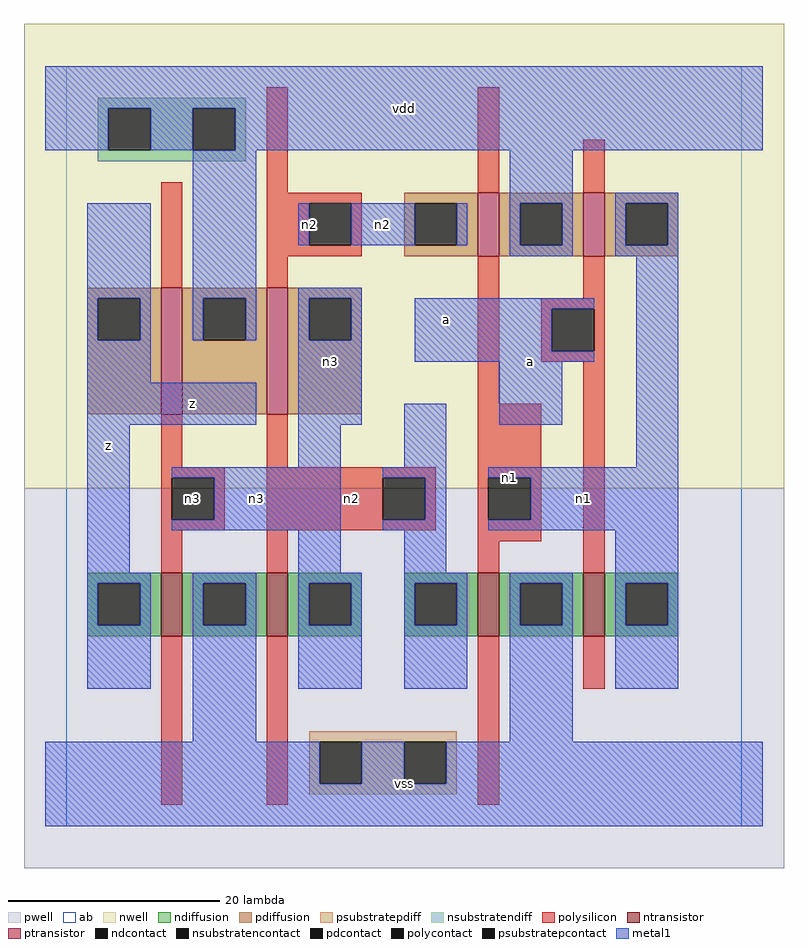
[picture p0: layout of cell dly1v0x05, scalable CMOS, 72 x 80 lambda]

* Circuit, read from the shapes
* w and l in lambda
.subckt dly1v0x05 a n1 n2 n3 vdd vss z
M1 vss n3 z vss nfet w=6 l=2
M2 n3 n2 vss vss nfet w=6 l=2
M3 vss n1 n2 vss nfet w=6 l=2
M4 n1 a vss vss nfet w=6 l=2
M5 vdd n3 z vdd pfet w=12 l=2
M6 n3 n2 vdd vdd pfet w=12 l=2
M7 vdd n1 n2 vdd pfet w=6 l=2
M8 n1 a vdd vdd pfet w=6 l=2
.ends

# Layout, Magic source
magic
tech scmos
<< ab >>
rect 0 0 64 72
<< pwell >>
rect -4 -4 68 32
<< nwell >>
rect -4 32 68 76
<< polysilicon >>
rect 9 51 11 61
rect 19 60 21 70
rect 39 60 41 70
rect 49 60 51 65
rect 19 59 28 60
rect 19 55 23 59
rect 27 55 28 59
rect 19 54 28 55
rect 19 51 21 54
rect 39 40 41 54
rect 49 50 51 54
rect 45 49 51 50
rect 45 45 46 49
rect 50 45 51 49
rect 45 44 51 45
rect 9 34 11 39
rect 19 34 21 39
rect 9 33 15 34
rect 9 29 10 33
rect 14 29 15 33
rect 9 28 15 29
rect 19 33 35 34
rect 19 29 30 33
rect 34 29 35 33
rect 19 28 35 29
rect 39 33 45 40
rect 39 29 40 33
rect 44 29 45 33
rect 9 24 11 28
rect 19 24 21 28
rect 39 27 45 29
rect 39 24 41 27
rect 49 24 51 44
rect 9 2 11 18
rect 19 2 21 18
rect 39 2 41 18
rect 49 13 51 18
<< ndiffusion >>
rect 2 23 9 24
rect 2 19 3 23
rect 7 19 9 23
rect 2 18 9 19
rect 11 23 19 24
rect 11 19 13 23
rect 17 19 19 23
rect 11 18 19 19
rect 21 23 28 24
rect 21 19 23 23
rect 27 19 28 23
rect 21 18 28 19
rect 32 23 39 24
rect 32 19 33 23
rect 37 19 39 23
rect 32 18 39 19
rect 41 23 49 24
rect 41 19 43 23
rect 47 19 49 23
rect 41 18 49 19
rect 51 23 58 24
rect 51 19 53 23
rect 57 19 58 23
rect 51 18 58 19
<< pdiffusion >>
rect 32 59 39 60
rect 32 55 33 59
rect 37 55 39 59
rect 32 54 39 55
rect 41 59 49 60
rect 41 55 43 59
rect 47 55 49 59
rect 41 54 49 55
rect 51 59 58 60
rect 51 55 53 59
rect 57 55 58 59
rect 51 54 58 55
rect 2 50 9 51
rect 2 46 3 50
rect 7 46 9 50
rect 2 39 9 46
rect 11 50 19 51
rect 11 46 13 50
rect 17 46 19 50
rect 11 39 19 46
rect 21 50 28 51
rect 21 46 23 50
rect 27 46 28 50
rect 21 39 28 46
<< metal1 >>
rect -2 68 66 72
rect -2 64 4 68
rect 8 64 12 68
rect 16 64 66 68
rect 2 50 8 59
rect 2 46 3 50
rect 7 46 8 50
rect 12 50 18 64
rect 42 59 48 64
rect 22 55 23 59
rect 27 55 33 59
rect 37 55 38 59
rect 42 55 43 59
rect 47 55 48 59
rect 42 54 48 55
rect 52 59 58 60
rect 52 55 53 59
rect 57 55 58 59
rect 52 54 58 55
rect 12 46 13 50
rect 17 46 18 50
rect 22 50 28 51
rect 22 46 23 50
rect 27 46 28 50
rect 2 42 8 46
rect 2 38 18 42
rect 22 38 28 46
rect 33 49 50 50
rect 33 45 46 49
rect 33 44 50 45
rect 2 24 6 38
rect 22 34 26 38
rect 32 34 36 40
rect 41 38 47 44
rect 54 34 58 54
rect 10 33 26 34
rect 14 29 26 33
rect 10 28 26 29
rect 30 33 36 34
rect 34 29 36 33
rect 30 28 36 29
rect 40 33 58 34
rect 44 29 58 33
rect 40 28 58 29
rect 22 24 26 28
rect 32 24 36 28
rect 2 23 8 24
rect 2 19 3 23
rect 7 19 8 23
rect 2 13 8 19
rect 12 23 18 24
rect 12 19 13 23
rect 17 19 18 23
rect 12 8 18 19
rect 22 23 28 24
rect 22 19 23 23
rect 27 19 28 23
rect 22 13 28 19
rect 32 23 38 24
rect 32 19 33 23
rect 37 19 38 23
rect 32 13 38 19
rect 42 23 48 24
rect 42 19 43 23
rect 47 19 48 23
rect 42 8 48 19
rect 52 23 58 28
rect 52 19 53 23
rect 57 19 58 23
rect 52 13 58 19
rect -2 4 24 8
rect 28 4 32 8
rect 36 4 66 8
rect -2 0 66 4
<< ntransistor >>
rect 9 18 11 24
rect 19 18 21 24
rect 39 18 41 24
rect 49 18 51 24
<< ptransistor >>
rect 39 54 41 60
rect 49 54 51 60
rect 9 39 11 51
rect 19 39 21 51
<< polycontact >>
rect 23 55 27 59
rect 46 45 50 49
rect 10 29 14 33
rect 30 29 34 33
rect 40 29 44 33
<< ndcontact >>
rect 3 19 7 23
rect 13 19 17 23
rect 23 19 27 23
rect 33 19 37 23
rect 43 19 47 23
rect 53 19 57 23
<< pdcontact >>
rect 33 55 37 59
rect 43 55 47 59
rect 53 55 57 59
rect 3 46 7 50
rect 13 46 17 50
rect 23 46 27 50
<< psubstratepcontact >>
rect 24 4 28 8
rect 32 4 36 8
<< nsubstratencontact >>
rect 4 64 8 68
rect 12 64 16 68
<< psubstratepdiff >>
rect 23 8 37 9
rect 23 4 24 8
rect 28 4 32 8
rect 36 4 37 8
rect 23 3 37 4
<< nsubstratendiff >>
rect 3 68 17 69
rect 3 64 4 68
rect 8 64 12 68
rect 16 64 17 68
rect 3 63 17 64
<< labels >>
rlabel polycontact 12 31 12 31 6 n3
rlabel polysilicon 27 31 27 31 6 n2
rlabel polysilicon 23 57 23 57 6 n2
rlabel polysilicon 42 33 42 33 6 n1
rlabel metal1 12 40 12 40 6 z
rlabel metal1 4 36 4 36 6 z
rlabel metal1 18 31 18 31 6 n3
rlabel metal1 25 44 25 44 6 n3
rlabel metal1 32 4 32 4 6 vss
rlabel metal1 36 48 36 48 6 a
rlabel metal1 44 44 44 44 6 a
rlabel metal1 30 57 30 57 6 n2
rlabel metal1 32 68 32 68 6 vdd
rlabel metal1 49 31 49 31 6 n1
<< end >>
